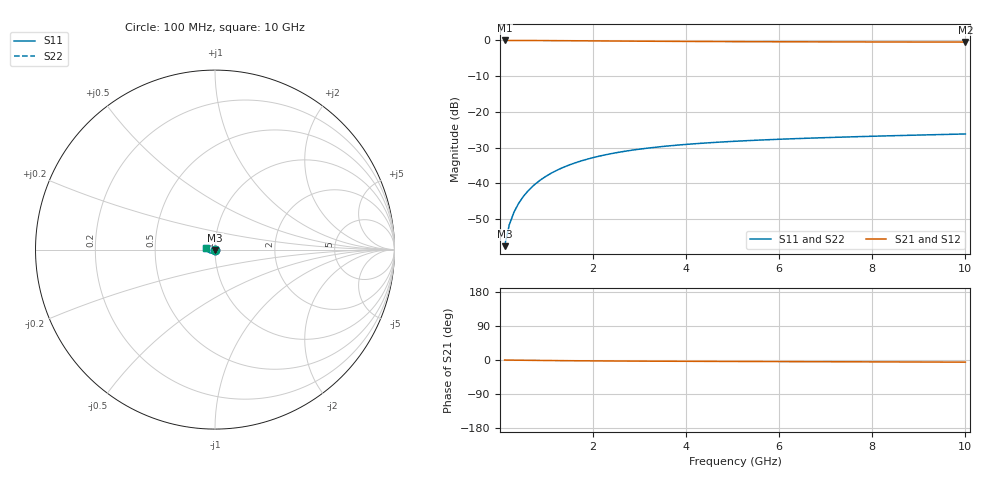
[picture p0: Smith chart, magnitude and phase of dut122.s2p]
! Touchstone file exported from HFSS 2024.1.0
!  File:  C:/UserFiles/LocalFiles/RDL_TSV_Batchsim/temp_TSV1_122_1779378887.aedt
!  Generated:  11:59:42 PM May 21, 2026
!  Design:  TSV1
!  Project:  temp_TSV1_122_1779378887
!  Setup:  Setup1
!  Solution:  Sweep
! Variables:
!  dtsv = 10.31um
!  hbump = 3um
!  htsv = 87.14um
!  lrdl = 252.1521522um
!  p = 40
!  p1 = 56.4um
!  t = 500um
!  trdl = 3um
!  wrdl = 24.89489489um
# GHz S MA R 50.000000
! Terminal data exported
! Port[1] = TSV22_T1
! Port[2] = TSV22_T2
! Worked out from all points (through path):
!   100 points, 100 MHz to 10 GHz, reference 50 ohm
!   highest |S21| = 0.00 dB at 100 MHz (marker M1); lowest = -0.5 dB at 10 GHz (marker M2)
!   lowest |S11| = -57.6 dB at 100 MHz (marker M3), VSWR 1.00, Z = 50 - j0.131 ohm
!   |S11| at or under -10 dB: start of sweep to end of sweep
!   |S22| runs from -57.6 to -26.2 dB; largest |S21 - S12| = 6e-15
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0.1  0.001313 -85.8  0.9998 -0.1  0.9998 -0.1  0.001313 -85.8
! Gamma 0 0 0 0
! Port Impedance 50 0 50 0
0.2  0.002614 -90.7  0.9997 -0.3  0.9997 -0.3  0.002614 -90.7
0.3  0.003916 -93.7  0.9994 -0.4  0.9994 -0.4  0.003916 -93.7
0.4  0.005211 -96.2  0.9991 -0.5  0.9991 -0.5  0.005211 -96.2
0.5  0.006497 -98.4  0.9987 -0.7  0.9987 -0.7  0.006497 -98.4
0.6  0.007767 -100.6  0.9982 -0.8  0.9982 -0.8  0.007767 -100.6
0.7  0.00902 -102.7  0.9976 -0.9  0.9976 -0.9  0.00902 -102.7
0.8  0.01025 -104.8  0.997 -1.1  0.997 -1.1  0.01025 -104.8
0.9  0.01146 -106.8  0.9963 -1.2  0.9963 -1.2  0.01146 -106.8
1.1  0.0138 -110.7  0.9947 -1.4  0.9947 -1.4  0.0138 -110.7
1.4  0.01709 -116.2  0.9921 -1.7  0.9921 -1.7  0.01709 -116.2
1.6  0.01913 -119.7  0.9902 -1.9  0.9902 -1.9  0.01913 -119.7
1.8  0.02104 -123.1  0.9882 -2.1  0.9882 -2.1  0.02104 -123.1
2.1  0.02367 -127.9  0.9852 -2.4  0.9852 -2.4  0.02367 -127.9
2.5  0.02676 -133.8  0.9812 -2.7  0.9812 -2.7  0.02676 -133.8
2.9  0.02941 -139.2  0.9775 -2.9  0.9775 -2.9  0.02941 -139.2
3.4  0.03222 -145.3  0.9732 -3.2  0.9732 -3.2  0.03222 -145.3
4.2  0.03578 -153.7  0.9675 -3.5  0.9675 -3.5  0.03578 -153.7
5.1  0.03885 -161.8  0.9625 -3.9  0.9625 -3.9  0.03885 -161.8
6.7  0.0429 -173.4  0.9562 -4.5  0.9562 -4.5  0.0429 -173.4
8.4  0.04622 176.6  0.9519 -5.1  0.9519 -5.1  0.04622 176.6
10  0.04896 168.8  0.9492 -5.6  0.9492 -5.6  0.04896 168.8
